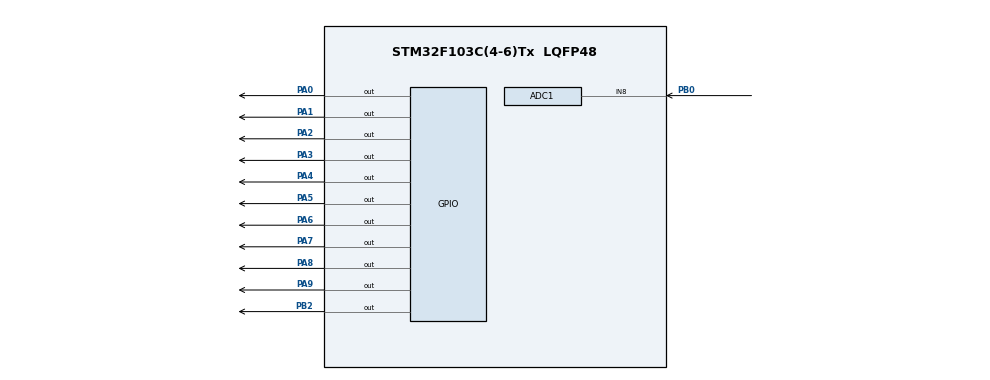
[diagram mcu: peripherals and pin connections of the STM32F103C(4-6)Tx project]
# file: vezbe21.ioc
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ADC1.Channel-0\#ChannelRegularConversion=ADC_CHANNEL_8
ADC1.ContinuousConvMode=ENABLE
ADC1.NbrOfConversionFlag=1
ADC1.Rank-0\#ChannelRegularConversion=1
ADC1.SamplingTime-0\#ChannelRegularConversion=ADC_SAMPLETIME_1CYCLE_5
ADC1.master=1
Mcu.Family=STM32F1
Mcu.Name=STM32F103C(4-6)Tx
Mcu.Package=LQFP48
NVIC.PriorityGroup=NVIC_PRIORITYGROUP_4
PA0-WKUP.Signal=GPIO_Output
PA1.Signal=GPIO_Output
PA2.Signal=GPIO_Output
PA3.Signal=GPIO_Output
PA4.Signal=GPIO_Output
PA5.Signal=GPIO_Output
PA6.Signal=GPIO_Output
PA7.Signal=GPIO_Output
PA8.Signal=GPIO_Output
PA9.Signal=GPIO_Output
PB0.Signal=ADCx_IN8
PB2.Signal=GPIO_Output
ProjectManager.HeapSize=0x200
ProjectManager.StackSize=0x400
ProjectManager.TargetToolchain=STM32CubeIDE
RCC.APB1Freq_Value=8000000
RCC.APB2Freq_Value=8000000
SH.ADCx_IN8.0=ADC1_IN8,IN8
board=custom

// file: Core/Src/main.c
/* USER CODE BEGIN Header */
/**
  ******************************************************************************
  * @file           : main.c
  * @brief          : Main program body
  ******************************************************************************
  * @attention
  *
  * Copyright (c) 2022 STMicroelectronics.
  * All rights reserved.
  *
  * This software is licensed under terms that can be found in the LICENSE file
  * in the root directory of this software component.
  * If no LICENSE file comes with this software, it is provided AS-IS.
  *
  ******************************************************************************
  */
/* USER CODE END Header */
#include "main.h"

ADC_HandleTypeDef hadc1;

void SystemClock_Config(void);
static void MX_GPIO_Init(void);
static void MX_ADC1_Init(void);
/* USER CODE BEGIN PFP */
void LCD_init()
{
	LCD(0x38,0);
	LCD(0x0C,0);
	LCD(0x06,0);
	LCD(0x01,0);
	LCD(0x80,0);
}
void LCD(uint8_t val_1 ,uint8_t cmd)
{
	uint8_t data1;
	HAL_GPIO_WritePin(GPIOA, GPIO_PIN_8,cmd);

	data1=val_1 & 0x01;
	HAL_GPIO_WritePin(GPIOA, GPIO_PIN_0,data1);

	data1=(val_1>>1) & 0x01;
	HAL_GPIO_WritePin(GPIOA, GPIO_PIN_1,data1);

	data1=(val_1>>2) & 0x01;
	HAL_GPIO_WritePin(GPIOA, GPIO_PIN_2,data1);

	data1=(val_1>>3) & 0x01;
	HAL_GPIO_WritePin(GPIOA, GPIO_PIN_3,data1);

	data1=(val_1>>4) & 0x01;
	HAL_GPIO_WritePin(GPIOA, GPIO_PIN_4,data1);

	data1=(val_1>>5) & 0x01;
	HAL_GPIO_WritePin(GPIOA, GPIO_PIN_5,data1);

	data1=(val_1>>6) & 0x01;
	HAL_GPIO_WritePin(GPIOA, GPIO_PIN_6,data1);

	data1=(val_1>>7) & 0x01;
	HAL_GPIO_WritePin(GPIOA, GPIO_PIN_7,data1);

	HAL_GPIO_WritePin(GPIOA, GPIO_PIN_9,GPIO_PIN_RESET);
	HAL_Delay(5);
	HAL_GPIO_WritePin(GPIOA, GPIO_PIN_9,GPIO_PIN_SET);
}
/* USER CODE END PFP */

int main(void)
{
  /* USER CODE BEGIN 1 */
//u_int16_t AdcRezultat;
//u_int32_t rezultat;
  /* USER CODE END 1 */

  /* MCU Configuration--------------------------------------------------------*/

  /* Reset of all peripherals, Initializes the Flash interface and the Systick. */
  HAL_Init();

  /* Configure the system clock */
  SystemClock_Config();

  /* Initialize all configured peripherals */
  MX_GPIO_Init();
  MX_ADC1_Init();
  LCD_init();
  char poruka[]="101";
  char poruka1[]="2018";
  float res1,rezultat1;

  /* Infinite loop */
  while (1)
  {
	  //broj
	  /*

*/

	  int i;
	  HAL_Delay(100);

	 	  HAL_ADC_Start(&hadc1);
	 	  HAL_ADC_PollForConversion(&hadc1,HAL_MAX_DELAY);
	 	  res1=HAL_ADC_GetValue(&hadc1);
	 	 // HAL_Delay(200);
	 	  rezultat1=(res1*10)/4095;
	 	 // HAL_Delay(100);
	 	  HAL_ADC_Stop(&hadc1);
	  //poruka
if(rezultat1>3.35)
{
	HAL_Delay(700);

		  // poruka
	LCD(0x01,0);
		  	 i=0;
		  	  while (poruka[i])
		  	  {

		  		  LCD(poruka[i],1);
		  		  HAL_Delay(50);
		  		  i++;
		  	  }

		  	  HAL_Delay(200);
		  	 LCD("",1);
		  	HAL_Delay(50);
		  	i=0;
		 while (poruka1[i])
		  {

			 LCD(poruka1[i],1);
		  	HAL_Delay(50);
		  	 i++;
		  	}
		  HAL_Delay(700);

}
else if (rezultat1<3.35){
	LCD(0x01,0);
		i=0;
			  while (poruka[i])
			  {
				  LCD(poruka[i],1);
				  HAL_Delay(50);
				  i++;
			  }
			  HAL_Delay(700);

}
/*

  }
}

void SystemClock_Config(void)
{
  RCC_OscInitTypeDef RCC_OscInitStruct = {0};
  RCC_ClkInitTypeDef RCC_ClkInitStruct = {0};
  RCC_PeriphCLKInitTypeDef PeriphClkInit = {0};

  /** Initializes the RCC Oscillators according to the specified parameters
  * in the RCC_OscInitTypeDef structure.
  */
  RCC_OscInitStruct.OscillatorType = RCC_OSCILLATORTYPE_HSI;
  RCC_OscInitStruct.HSIState = RCC_HSI_ON;
  RCC_OscInitStruct.HSICalibrationValue = RCC_HSICALIBRATION_DEFAULT;
  RCC_OscInitStruct.PLL.PLLState = RCC_PLL_NONE;
  if (HAL_RCC_OscConfig(&RCC_OscInitStruct) != HAL_OK)
  {
    Error_Handler();
  }

  /** Initializes the CPU, AHB and APB buses clocks
  */
  RCC_ClkInitStruct.ClockType = RCC_CLOCKTYPE_HCLK|RCC_CLOCKTYPE_SYSCLK
                              |RCC_CLOCKTYPE_PCLK1|RCC_CLOCKTYPE_PCLK2;
  RCC_ClkInitStruct.SYSCLKSource = RCC_SYSCLKSOURCE_HSI;
  RCC_ClkInitStruct.AHBCLKDivider = RCC_SYSCLK_DIV1;
  RCC_ClkInitStruct.APB1CLKDivider = RCC_HCLK_DIV1;
  RCC_ClkInitStruct.APB2CLKDivider = RCC_HCLK_DIV1;

  if (HAL_RCC_ClockConfig(&RCC_ClkInitStruct, FLASH_LATENCY_0) != HAL_OK)
  {
    Error_Handler();
  }
  PeriphClkInit.PeriphClockSelection = RCC_PERIPHCLK_ADC;
  PeriphClkInit.AdcClockSelection = RCC_ADCPCLK2_DIV2;
  if (HAL_RCCEx_PeriphCLKConfig(&PeriphClkInit) != HAL_OK)
  {
    Error_Handler();
  }
}

static void MX_ADC1_Init(void)
{

  ADC_ChannelConfTypeDef sConfig = {0};

  /** Common config
  */
  hadc1.Instance = ADC1;
  hadc1.Init.ScanConvMode = ADC_SCAN_DISABLE;
  hadc1.Init.ContinuousConvMode = ENABLE;
  hadc1.Init.DiscontinuousConvMode = DISABLE;
  hadc1.Init.ExternalTrigConv = ADC_SOFTWARE_START;
  hadc1.Init.DataAlign = ADC_DATAALIGN_RIGHT;
  hadc1.Init.NbrOfConversion = 1;
  if (HAL_ADC_Init(&hadc1) != HAL_OK)
  {
    Error_Handler();
  }

  /** Configure Regular Channel
  */
  sConfig.Channel = ADC_CHANNEL_8;
  sConfig.Rank = ADC_REGULAR_RANK_1;
  sConfig.SamplingTime = ADC_SAMPLETIME_1CYCLE_5;
  if (HAL_ADC_ConfigChannel(&hadc1, &sConfig) != HAL_OK)
  {
    Error_Handler();
  }

}

static void MX_GPIO_Init(void)
{
  GPIO_InitTypeDef GPIO_InitStruct = {0};

  /* GPIO Ports Clock Enable */
  __HAL_RCC_GPIOA_CLK_ENABLE();
  __HAL_RCC_GPIOB_CLK_ENABLE();

  /*Configure GPIO pin Output Level */
  HAL_GPIO_WritePin(GPIOA, GPIO_PIN_0|GPIO_PIN_1|GPIO_PIN_2|GPIO_PIN_3
                          |GPIO_PIN_4|GPIO_PIN_5|GPIO_PIN_6|GPIO_PIN_7
                          |GPIO_PIN_8|GPIO_PIN_9, GPIO_PIN_SET);

  /*Configure GPIO pin Output Level */
  HAL_GPIO_WritePin(GPIOB, GPIO_PIN_2, GPIO_PIN_SET);

  /*Configure GPIO pins : PA0 PA1 PA2 PA3
                           PA4 PA5 PA6 PA7
                           PA8 PA9 */
  GPIO_InitStruct.Pin = GPIO_PIN_0|GPIO_PIN_1|GPIO_PIN_2|GPIO_PIN_3
                          |GPIO_PIN_4|GPIO_PIN_5|GPIO_PIN_6|GPIO_PIN_7
                          |GPIO_PIN_8|GPIO_PIN_9;
  GPIO_InitStruct.Mode = GPIO_MODE_OUTPUT_PP;
  GPIO_InitStruct.Pull = GPIO_NOPULL;
  GPIO_InitStruct.Speed = GPIO_SPEED_FREQ_LOW;
  HAL_GPIO_Init(GPIOA, &GPIO_InitStruct);

  /*Configure GPIO pin : PB2 */
  GPIO_InitStruct.Pin = GPIO_PIN_2;
  GPIO_InitStruct.Mode = GPIO_MODE_OUTPUT_PP;
  GPIO_InitStruct.Pull = GPIO_NOPULL;
  GPIO_InitStruct.Speed = GPIO_SPEED_FREQ_LOW;
  HAL_GPIO_Init(GPIOB, &GPIO_InitStruct);

}

void Error_Handler(void)
{
  __disable_irq();
  while (1)
  {
  }
}
